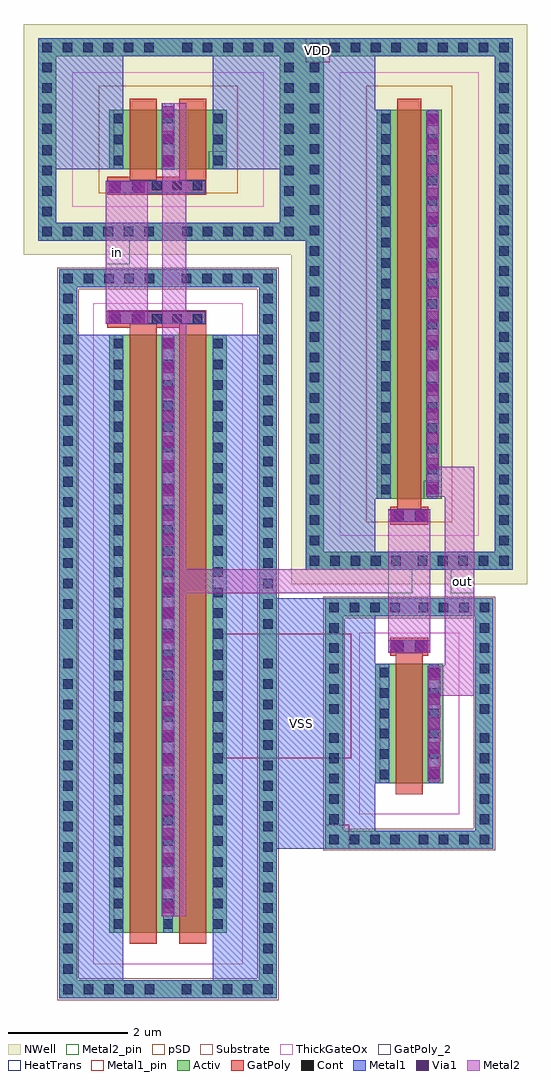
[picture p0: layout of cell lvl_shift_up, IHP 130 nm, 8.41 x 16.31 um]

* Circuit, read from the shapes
.subckt lvl_shift_up VDD VSS in out
XM1 hv_inverter_6u5_0/in in VSS VSS sg13_hv_nmos w=10u l=0.45u m=2
XM2 out hv_inverter_6u5_0/in VSS VSS sg13_hv_nmos w=2u l=0.45u
XM3 hv_inverter_6u5_0/in in VDD VDD sg13_hv_pmos w=1u l=0.45u m=2
XM4 out hv_inverter_6u5_0/in VDD VDD sg13_hv_pmos w=6.5u l=0.4u
.ends

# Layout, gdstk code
from math import pi, radians
import gdstk
lib = gdstk.Library(unit=1e-6, precision=1e-09)
def R(c, l, rs):  # rectangles x0, y0, x1, y1
    for r in rs: c.add(gdstk.rectangle(r[:2], r[2:], *l))
def A(c, l, x, y, w, h, nx, ny, dx, dy):  # array of equal rectangles
    R(c, l, [(x+i*dx, y+j*dy, x+i*dx+w, y+j*dy+h) for i in range(nx) for j in range(ny)])
def P(c, l, *ps):  # polygons
    for p in ps: c.add(gdstk.Polygon(p, *l))
Activ = (1, 0)
GatPoly = (5, 0)
GatPoly_2 = (5, 2)
Cont = (6, 0)
Metal1 = (8, 0)
Metal1_pin = (8, 2)
Metal2 = (10, 0)
Metal2_pin = (10, 2)
pSD = (14, 0)
Via1 = (19, 0)
NWell = (31, 0)
Substrate = (40, 0)
ThickGateOx = (44, 0)
HeatTrans = (51, 0)

pmoshv = lib.new_cell('pmosHV')
R(pmoshv, Activ, [(-1.19,-0.89,-0.89,7.39), (1.97,-0.89,2.27,7.39), (0,0,0.3,0.3), (0,0,1.08,6.5), (0.78,0,1.08,0.3), (-1.19,7.39,2.27,7.69)])
P(pmoshv, Activ, [(-1.19,-1.19),(-1.19,7.39),(-0.89,7.39),(-0.89,-0.89),(1.97,-0.89),(1.97,7.39),(-1.19,7.39),(-1.19,7.69),(2.27,7.69),(2.27,-1.19)])
R(pmoshv, GatPoly, [(0.34,-0.18,0.74,6.68)])
R(pmoshv, GatPoly_2, [(0.34,-0.18,0.74,6.68)])
A(pmoshv, Cont, -1.12, -1.12, 0.16, 0.16, 5, 2, 0.34, 8.58)
A(pmoshv, Cont, 0.68, -1.12, 0.16, 0.16, 5, 2, 0.34, 8.58)
A(pmoshv, Cont, -1.12, -0.78, 0.16, 0.16, 1, 12, 0, 0.34)
A(pmoshv, Cont, 2.04, -0.78, 0.16, 0.16, 1, 12, 0, 0.34)
A(pmoshv, Cont, 0.07, 0.41, 0.16, 0.16, 1, 9, 0, 0.345)
A(pmoshv, Cont, 0.85, 0.41, 0.16, 0.16, 1, 9, 0, 0.345)
A(pmoshv, Cont, -1.12, 3.38, 0.16, 0.16, 1, 12, 0, 0.34)
A(pmoshv, Cont, 2.04, 3.38, 0.16, 0.16, 1, 12, 0, 0.34)
A(pmoshv, Cont, 0.07, 3.51, 0.16, 0.16, 1, 9, 0, 0.345)
A(pmoshv, Cont, 0.85, 3.51, 0.16, 0.16, 1, 9, 0, 0.345)
R(pmoshv, Cont, [(0.07,0.07,0.23,0.23), (0.85,0.07,1.01,0.23)])
R(pmoshv, Metal1, [(-1.19,-1.19,2.27,-0.89), (-1.19,-0.89,-0.89,7.39), (1.97,-0.89,2.27,7.39), (0.07,0,0.23,6.5), (0.85,0,1.01,6.5), (-1.19,7.39,2.27,7.69)])
R(pmoshv, Metal1_pin, [(0.07,0,0.23,6.5), (0.85,0,1.01,6.5)])
R(pmoshv, pSD, [(-0.18,-0.4,1.26,6.9)])
R(pmoshv, NWell, [(-1.43,-1.43,2.51,7.93), (-0.62,-0.62,1.7,7.12)])
R(pmoshv, Substrate, [(0.78,0,1.08,0.3)])
R(pmoshv, ThickGateOx, [(-0.62,-0.62,1.7,7.12)])
R(pmoshv, HeatTrans, [(0.34,-0.18,0.74,6.68)])
pmoshv.add(gdstk.Label('pmosHV', (0.54,3.25), layer=63, texttype=0))
pmoshv.add(gdstk.Label('well', (0.54,-1.04), layer=63, texttype=0))
pmoshv.add(gdstk.Label('pmos', (0.54,3.25), layer=51, texttype=0))

nmoshv = lib.new_cell('nmosHV')
R(nmoshv, Activ, [(-0.84,-0.79,-0.54,2.79), (1.67,-0.79,1.97,2.79), (0,0,0.3,0.3), (0,0,1.13,2), (0.83,0,1.13,0.3), (-0.84,2.79,1.97,3.09)])
P(nmoshv, Activ, [(-0.84,-1.09),(-0.84,2.79),(-0.54,2.79),(-0.54,-0.79),(1.67,-0.79),(1.67,2.79),(-0.84,2.79),(-0.84,3.09),(1.97,3.09),(1.97,-1.09)])
R(nmoshv, GatPoly, [(0.34,-0.18,0.79,2.18)])
R(nmoshv, GatPoly_2, [(0.34,-0.18,0.79,2.18)])
A(nmoshv, Cont, -0.77, -1.02, 0.16, 0.16, 4, 2, 0.34, 3.88)
A(nmoshv, Cont, 0.72, -1.02, 0.16, 0.16, 4, 2, 0.34, 3.88)
A(nmoshv, Cont, -0.77, -0.68, 0.16, 0.16, 1, 5, 0, 0.34)
A(nmoshv, Cont, 1.74, -0.68, 0.16, 0.16, 1, 5, 0, 0.34)
A(nmoshv, Cont, 0.07, 0.07, 0.16, 0.16, 1, 6, 0, 0.34)
A(nmoshv, Cont, 0.9, 0.07, 0.16, 0.16, 1, 6, 0, 0.34)
A(nmoshv, Cont, -0.77, 1.16, 0.16, 0.16, 1, 5, 0, 0.34)
A(nmoshv, Cont, 1.74, 1.16, 0.16, 0.16, 1, 5, 0, 0.34)
R(nmoshv, Metal1, [(-0.84,-1.09,1.97,-0.79), (-0.84,-0.79,-0.54,2.79), (1.67,-0.79,1.97,2.79), (0.07,0,0.23,2), (0.9,0,1.06,2), (-0.84,2.79,1.97,3.09)])
R(nmoshv, Metal1_pin, [(0.07,0,0.23,2), (0.9,0,1.06,2)])
R(nmoshv, pSD, [(-0.87,-0.76,-0.51,2.76), (1.64,-0.76,2,2.76), (-0.87,2.76,2,3.12)])
P(nmoshv, pSD, [(-0.87,-1.12),(-0.87,2.76),(-0.51,2.76),(-0.51,-0.76),(1.64,-0.76),(1.64,2.76),(-0.87,2.76),(-0.87,3.12),(2,3.12),(2,-1.12)])
R(nmoshv, Substrate, [(-0.87,-0.76,-0.51,2.76), (1.64,-0.76,2,2.76), (-0.87,2.76,2,3.12)])
P(nmoshv, Substrate, [(-0.87,-1.12),(-0.87,2.76),(-0.51,2.76),(-0.51,-0.76),(1.64,-0.76),(1.64,2.76),(-0.87,2.76),(-0.87,3.12),(2,3.12),(2,-1.12)])
R(nmoshv, ThickGateOx, [(-0.27,-0.52,1.4,2.52)])
R(nmoshv, HeatTrans, [(0.34,-0.18,0.79,2.18)])
nmoshv.add(gdstk.Label('nmosHV', (0.565,1), layer=63, texttype=0))
nmoshv.add(gdstk.Label('sub!', (0.565,-0.94), layer=63, texttype=0))
nmoshv.add(gdstk.Label('nmosHV', (0.565,1), layer=51, texttype=0))

via_stack_10 = lib.new_cell('via_stack$10')
R(via_stack_10, GatPoly, [(-0.15,-0.32,0.15,0.32)])
R(via_stack_10, Cont, [(-0.08,-0.25,0.08,-0.09), (-0.08,0.09,0.08,0.25)])
R(via_stack_10, Metal1, [(-0.08,-0.3,0.08,0.3)])

via_stack_4 = lib.new_cell('via_stack$4')
R(via_stack_4, Metal1, [(-0.105,-0.35,0.105,0.35)])
R(via_stack_4, Metal2, [(-0.1,-0.35,0.1,0.35)])
R(via_stack_4, Via1, [(-0.095,-0.3,0.095,-0.11), (-0.095,0.11,0.095,0.3)])

via_stack = lib.new_cell('via_stack')
R(via_stack, Metal1, [(-0.105,-0.965,0.105,0.965)])
R(via_stack, Metal2, [(-0.1,-0.965,0.1,0.965)])
A(via_stack, Via1, -0.095, -0.915, 0.19, 0.19, 1, 5, 0, 0.41)

via_stack_13 = lib.new_cell('via_stack$13')
R(via_stack_13, Metal1, [(-0.105,-3.22,0.105,3.22)])
R(via_stack_13, Metal2, [(-0.1,-3.22,0.1,3.22)])
A(via_stack_13, Via1, -0.095, -3.17, 0.19, 0.19, 1, 16, 0, 0.41)

hv_inverter_6u5 = lib.new_cell('hv_inverter_6u5')
R(hv_inverter_6u5, Metal1, [(-1.105,-4.17,-0.57,-0.59), (-0.57,-3.38,-0.495,-1.38), (-1.43,0.49,-0.57,8.77), (-0.57,1.38,-0.47,7.88)])
R(hv_inverter_6u5, Metal1_pin, [(-1.405,-4.47,-1.005,-4.07), (-1.73,8.67,-1.33,9.07)])
R(hv_inverter_6u5, Metal2, [(-0.35,-0.995,0.35,0.995)])
R(hv_inverter_6u5, Metal2_pin, [(-0.35,-0.2,0.05,0.2), (0.69,-0.2,1.09,0.2)])
hv_inverter_6u5.add(gdstk.FlexPath([(0.515,-1.665),(0.84,-1.665),(0.84,1.66),(0.49,1.66)], 0.5, ends="flush", simple_path=True, layer=10, datatype=0))  # Metal2
hv_inverter_6u5.add(gdstk.Reference(pmoshv, (-0.54,1.38)))
hv_inverter_6u5.add(gdstk.Reference(nmoshv, (-0.565,-3.38)))
hv_inverter_6u5.add(gdstk.Reference(via_stack_10, (0,-1.095), rotation=pi/2))
hv_inverter_6u5.add(gdstk.Reference(via_stack_4, (0,-1.095), rotation=pi/2))
hv_inverter_6u5.add(gdstk.Reference(via_stack_10, (0,1.095), rotation=pi/2))
hv_inverter_6u5.add(gdstk.Reference(via_stack_4, (0,1.095), rotation=pi/2))
hv_inverter_6u5.add(gdstk.Reference(via_stack, (0.415,-2.38)))
hv_inverter_6u5.add(gdstk.Reference(via_stack_13, (0.39,4.63)))
hv_inverter_6u5.add(gdstk.Label('in', (-0.15,0), layer=10, texttype=25))
hv_inverter_6u5.add(gdstk.Label('out', (0.89,0), layer=10, texttype=25))
hv_inverter_6u5.add(gdstk.Label('VSS', (-1.205,-4.27), layer=8, texttype=25))
hv_inverter_6u5.add(gdstk.Label('VDD', (-1.53,8.87), layer=8, texttype=25))

nmoshv_2 = lib.new_cell('nmosHV$2')
A(nmoshv_2, Activ, 0, 0, 0.3, 0.3, 3, 1, 0.83, 0)
R(nmoshv_2, Activ, [(-0.84,-0.79,-0.54,10.79), (2.5,-0.79,2.8,10.79), (0,0,1.96,10), (-0.84,10.79,2.8,11.09)])
P(nmoshv_2, Activ, [(-0.84,-1.09),(-0.84,10.79),(-0.54,10.79),(-0.54,-0.79),(2.5,-0.79),(2.5,10.79),(-0.84,10.79),(-0.84,11.09),(2.8,11.09),(2.8,-1.09)])
R(nmoshv_2, GatPoly, [(0.34,-0.18,0.79,10.18), (1.17,-0.18,1.62,10.18)])
R(nmoshv_2, GatPoly_2, [(0.34,-0.18,0.79,10.18)])
A(nmoshv_2, Cont, -0.77, -1.02, 0.16, 0.16, 5, 2, 0.34, 11.88)
A(nmoshv_2, Cont, 1.21, -1.02, 0.16, 0.16, 5, 2, 0.34, 11.88)
A(nmoshv_2, Cont, -0.77, -0.68, 0.16, 0.16, 1, 16, 0, 0.34)
A(nmoshv_2, Cont, 2.57, -0.68, 0.16, 0.16, 1, 16, 0, 0.34)
A(nmoshv_2, Cont, 0.07, 0.07, 0.16, 0.16, 3, 4, 0.83, 0.345)
A(nmoshv_2, Cont, 0.07, 1.455, 0.16, 0.16, 3, 3, 0.83, 0.345)
A(nmoshv_2, Cont, 0.07, 2.495, 0.16, 0.16, 3, 4, 0.83, 0.345)
A(nmoshv_2, Cont, 0.07, 3.88, 0.16, 0.16, 3, 3, 0.83, 0.345)
A(nmoshv_2, Cont, 0.07, 4.92, 0.16, 0.16, 3, 4, 0.83, 0.345)
A(nmoshv_2, Cont, -0.77, 5.08, 0.16, 0.16, 1, 17, 0, 0.34)
A(nmoshv_2, Cont, 2.57, 5.08, 0.16, 0.16, 1, 17, 0, 0.34)
A(nmoshv_2, Cont, 0.07, 6.305, 0.16, 0.16, 3, 3, 0.83, 0.345)
A(nmoshv_2, Cont, 0.07, 7.345, 0.16, 0.16, 3, 4, 0.83, 0.345)
A(nmoshv_2, Cont, 0.07, 8.73, 0.16, 0.16, 3, 3, 0.83, 0.345)
A(nmoshv_2, Cont, 0.07, 9.77, 0.16, 0.16, 3, 1, 0.83, 0)
A(nmoshv_2, Metal1, 0.07, 0, 0.16, 10, 3, 1, 0.83, 0)
R(nmoshv_2, Metal1, [(-0.84,-1.09,2.8,-0.79), (-0.84,-0.79,-0.54,10.79), (2.5,-0.79,2.8,10.79), (-0.84,10.79,2.8,11.09)])
R(nmoshv_2, Metal1_pin, [(0.07,0,0.23,10), (0.9,0,1.06,10)])
R(nmoshv_2, pSD, [(-0.87,-0.76,-0.51,10.76), (2.47,-0.76,2.83,10.76), (-0.87,10.76,2.83,11.12)])
P(nmoshv_2, pSD, [(-0.87,-1.12),(-0.87,10.76),(-0.51,10.76),(-0.51,-0.76),(2.47,-0.76),(2.47,10.76),(-0.87,10.76),(-0.87,11.12),(2.83,11.12),(2.83,-1.12)])
R(nmoshv_2, Substrate, [(-0.87,-0.76,-0.51,10.76), (2.47,-0.76,2.83,10.76), (-0.87,10.76,2.83,11.12)])
P(nmoshv_2, Substrate, [(-0.87,-1.12),(-0.87,10.76),(-0.51,10.76),(-0.51,-0.76),(2.47,-0.76),(2.47,10.76),(-0.87,10.76),(-0.87,11.12),(2.83,11.12),(2.83,-1.12)])
R(nmoshv_2, ThickGateOx, [(-0.27,-0.52,2.23,10.52)])
R(nmoshv_2, HeatTrans, [(0.34,-0.18,0.79,10.18), (1.17,-0.18,1.62,10.18)])
nmoshv_2.add(gdstk.Label('nmosHV', (0.565,5), layer=63, texttype=0))
nmoshv_2.add(gdstk.Label('sub!', (0.98,-0.94), layer=63, texttype=0))
nmoshv_2.add(gdstk.Label('nmosHV', (0.565,5), layer=51, texttype=0))
nmoshv_2.add(gdstk.Label('nmosHV', (1.395,5), layer=51, texttype=0))

pmoshv_2 = lib.new_cell('pmosHV$2')
A(pmoshv_2, Activ, 0, 0, 0.3, 0.3, 3, 1, 0.83, 0)
R(pmoshv_2, Activ, [(-1.19,-0.89,-0.89,1.89), (2.85,-0.89,3.15,1.89), (0,0,1.96,1), (-1.19,1.89,3.15,2.19)])
P(pmoshv_2, Activ, [(-1.19,-1.19),(-1.19,1.89),(-0.89,1.89),(-0.89,-0.89),(2.85,-0.89),(2.85,1.89),(-1.19,1.89),(-1.19,2.19),(3.15,2.19),(3.15,-1.19)])
R(pmoshv_2, GatPoly, [(0.34,-0.18,0.79,1.18), (1.17,-0.18,1.62,1.18)])
R(pmoshv_2, GatPoly_2, [(0.34,-0.18,0.79,1.18)])
A(pmoshv_2, Cont, -1.12, -1.12, 0.16, 0.16, 6, 2, 0.34, 3.08)
A(pmoshv_2, Cont, 1.22, -1.12, 0.16, 0.16, 6, 2, 0.34, 3.08)
A(pmoshv_2, Cont, -1.12, -0.78, 0.16, 0.16, 1, 4, 0, 0.34)
A(pmoshv_2, Cont, 2.92, -0.78, 0.16, 0.16, 1, 4, 0, 0.34)
A(pmoshv_2, Cont, 0.07, 0.07, 0.16, 0.16, 3, 3, 0.83, 0.35)
A(pmoshv_2, Cont, -1.12, 0.6, 0.16, 0.16, 1, 4, 0, 0.34)
A(pmoshv_2, Cont, 2.92, 0.6, 0.16, 0.16, 1, 4, 0, 0.34)
A(pmoshv_2, Metal1, 0.07, 0, 0.16, 1, 3, 1, 0.83, 0)
R(pmoshv_2, Metal1, [(-1.19,-1.19,3.15,-0.89), (-1.19,-0.89,-0.89,1.89), (2.85,-0.89,3.15,1.89), (-1.19,1.89,3.15,2.19)])
R(pmoshv_2, Metal1_pin, [(0.07,0,0.23,1), (0.9,0,1.06,1)])
R(pmoshv_2, pSD, [(-0.18,-0.4,2.14,1.4)])
R(pmoshv_2, NWell, [(-1.43,-1.43,3.39,2.43), (-0.62,-0.62,2.58,1.62)])
R(pmoshv_2, Substrate, [(1.66,0,1.96,0.3)])
R(pmoshv_2, ThickGateOx, [(-0.62,-0.62,2.58,1.62)])
R(pmoshv_2, HeatTrans, [(0.34,-0.18,0.79,1.18), (1.17,-0.18,1.62,1.18)])
pmoshv_2.add(gdstk.Label('pmosHV', (0.565,0.5), layer=63, texttype=0))
pmoshv_2.add(gdstk.Label('well', (0.98,-1.04), layer=63, texttype=0))
pmoshv_2.add(gdstk.Label('pmos', (0.565,0.5), layer=51, texttype=0))
pmoshv_2.add(gdstk.Label('pmos', (1.395,0.5), layer=51, texttype=0))

via_stack_5 = lib.new_cell('via_stack$5')
R(via_stack_5, Metal1, [(-0.555,-0.105,0.555,0.105)])
R(via_stack_5, Metal2, [(-0.555,-0.1,0.555,0.1)])
A(via_stack_5, Via1, -0.505, -0.095, 0.19, 0.19, 3, 1, 0.41, 0)

via_stack_6 = lib.new_cell('via_stack$6')
R(via_stack_6, Metal1, [(-4.86,-0.105,4.86,0.105)])
R(via_stack_6, Metal2, [(-4.86,-0.1,4.86,0.1)])
A(via_stack_6, Via1, -4.81, -0.095, 0.19, 0.19, 24, 1, 0.41, 0)

via_stack_7 = lib.new_cell('via_stack$7')
R(via_stack_7, GatPoly, [(-0.15,-0.83,0.15,0.83)])
A(via_stack_7, Cont, -0.08, -0.76, 0.16, 0.16, 1, 5, 0, 0.34)
R(via_stack_7, Metal1, [(-0.08,-0.81,0.08,0.81)])

via_stack_11 = lib.new_cell('via_stack$11')
R(via_stack_11, Metal1, [(-0.105,-0.35,0.105,0.35)])
R(via_stack_11, Metal2, [(-0.1,-0.35,0.1,0.35)])
R(via_stack_11, Via1, [(-0.095,-0.3,0.095,-0.11), (-0.095,0.11,0.095,0.3)])

lvl_shift_up = lib.new_cell('lvl_shift_up')
R(lvl_shift_up, Activ, [(-1.86,5.69,-1.73,9.07)])
R(lvl_shift_up, Metal1, [(-5.55,-6.67,-4.78,4.12), (-3.28,-6.67,-2.51,4.12), (-2.21,-4.47,-1.405,-0.29), (-4.37,4.3,-3.41,4.51), (-1.86,5.69,-1.73,9.07), (-4.37,6.48,-3.41,6.69), (-5.9,6.88,-4.78,8.77), (-3.28,6.88,-2.16,8.77)])
R(lvl_shift_up, Metal1_pin, [(-3.12,-2.96,-0.97,-0.88), (-3.12,-1.5,-2.5,-0.88), (-3.12,-1.5,-2.5,-0.88), (-1.73,8.67,-1.33,9.07)])
R(lvl_shift_up, Metal2, [(-5.07,4.505,-4.37,6.485)])
R(lvl_shift_up, Metal2_pin, [(0.69,-0.2,1.09,0.2), (-5.07,5.295,-4.67,5.695)])
lvl_shift_up.add(gdstk.FlexPath([(-3.93,7.985),(-3.93,-5.6)], 0.4, ends="flush", simple_path=True, layer=10, datatype=0))  # Metal2
lvl_shift_up.add(gdstk.FlexPath([(-0.35,0),(-3.93,0)], 0.4, ends="flush", simple_path=True, layer=10, datatype=0))  # Metal2
lvl_shift_up.add(gdstk.Reference(hv_inverter_6u5, (0,0)))
lvl_shift_up.add(gdstk.Reference(nmoshv_2, (-5.01,-5.88)))
lvl_shift_up.add(gdstk.Reference(pmoshv_2, (-5.01,6.88)))
lvl_shift_up.add(gdstk.Reference(via_stack_5, (-4.03,7.43), rotation=pi/2))
lvl_shift_up.add(gdstk.Reference(via_stack_6, (-4.03,-0.74), rotation=pi/2))
lvl_shift_up.add(gdstk.Reference(via_stack_7, (-4.22,6.61), rotation=pi/2))
lvl_shift_up.add(gdstk.Reference(via_stack_11, (-4.72,6.585), rotation=pi/2))
lvl_shift_up.add(gdstk.Reference(via_stack_7, (-4.22,4.38), rotation=3*pi/2, x_reflection=True))
lvl_shift_up.add(gdstk.Reference(via_stack_11, (-4.72,4.405), rotation=3*pi/2, x_reflection=True))
lvl_shift_up.add(gdstk.Label('out', (0.89,0), layer=10, texttype=25))
lvl_shift_up.add(gdstk.Label('in', (-4.87,5.495), layer=10, texttype=25))
lvl_shift_up.add(gdstk.Label('VSS', (-1.808,-2.38), layer=8, texttype=25))
lvl_shift_up.add(gdstk.Label('VDD', (-1.53,8.87), layer=8, texttype=25))

lib.write_gds('lvl_shift_up.gds')
